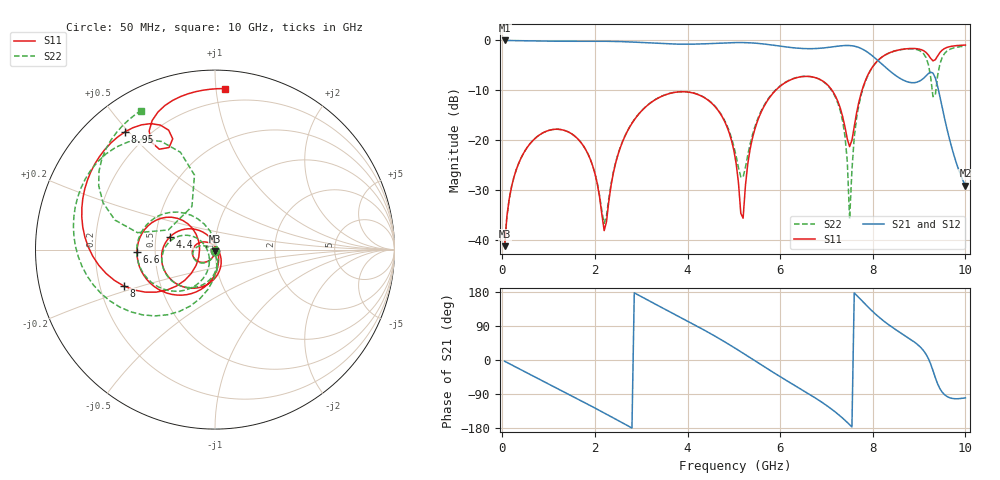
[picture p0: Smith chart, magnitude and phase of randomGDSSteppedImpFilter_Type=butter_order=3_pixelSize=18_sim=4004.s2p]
! freq	dB(S11)	phase(S11)	dB(S12)	phase(S12)
!  dB(S21)	phase(S21)	dB(S22)	phase(S22)
!S-par simulation data
#  GHz  S  DB  R 50
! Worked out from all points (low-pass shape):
!   200 points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, 50 MHz to 10 GHz, reference 50 ohm
!   highest |S21| = -0.01 dB at 50 MHz (marker M1); lowest = -29.2 dB at 10 GHz (marker M2)
!   |S21| within 3 dB of the highest: start of sweep to 7.979 GHz
!   lowest |S11| = -41.3 dB at 50 MHz (marker M3), VSWR 1.02, Z = 50 - j0.859 ohm
!   |S11| at or under -10 dB: start of sweep to 5.906 GHz; 7.118 GHz to 7.769 GHz (650.9 MHz wide, 8.74 % of centre)
!   |S22| runs from -41.2 to -1.1 dB; largest |S21 - S12| = 0
!   S11 on the Smith chart (normalised r, x): 50 MHz: 1.00, -0.02; 4.4 GHz: 0.60, +0.09; 6.6 GHz: 0.39, -0.01; 8 GHz: 0.30, -0.18; 8.95 GHz: 0.12, +0.49; 10 GHz: 0.11, +1.06
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0.05  -41.32 -89.8  -0.01 -3.2  -0.01 -3.2  -41.24 -89.8
0.2  -29.38 -102.8  -0.03 -12.8  -0.03 -12.8  -29.38 -102.0
0.6  -20.73 -129.7  -0.09 -38.1  -0.09 -38.1  -20.73 -127.2
1.75  -21.16 152.0  -0.17 -110.6  -0.17 -110.6  -21.15 166.5
2.2  -38.20 49.9  -0.17 -139.8  -0.17 -139.8  -36.73 -148.2
2.6  -20.27 -70.5  -0.25 -166.2  -0.25 -166.2  -20.21 -84.7
3.4  -11.41 -128.6  -0.61 141.2  -0.61 141.2  -11.38 -129.6
4.4  -11.71 163.8  -0.67 76.2  -0.67 76.2  -11.66 171.4
5.05  -24.73 106.9  -0.43 29.5  -0.43 29.5  -23.26 154.3
5.2  -35.71 -17.6  -0.43 18.0  -0.43 18.0  -27.44 -148.2
5.6  -14.20 -101.4  -0.67 -13.3  -0.67 -13.3  -13.97 -115.1
6.6  -7.23 -178.0  -1.66 -88.1  -1.66 -88.1  -7.21 179.2
6.7  -7.34 174.8  -1.65 -95.7  -1.65 -95.7  -7.33 171.9
7.3  -13.64 136.4  -1.09 -148.2  -1.09 -148.2  -14.21 119.0
7.5  -21.32 177.3  -1.03 -170.7  -1.03 -170.7  -35.86 37.0
7.65  -14.58 -134.9  -1.27 170.8  -1.27 170.8  -15.62 -92.6
8  -5.24 -158.2  -3.16 127.7  -3.16 127.7  -5.30 -138.0
8.35  -2.53 170.4  -5.99 92.4  -5.99 92.4  -2.54 -172.8
8.95  -1.66 127.4  -8.40 42.5  -8.40 42.5  -1.85 138.9
9.25  -3.60 110.9  -6.36 -10.5  -6.36 -10.5  -7.32 105.4
9.4  -3.13 120.7  -9.20 -62.9  -9.20 -62.9  -7.10 167.7
10  -0.93 86.5  -29.19 -99.9  -29.19 -99.9  -1.14 118.1
